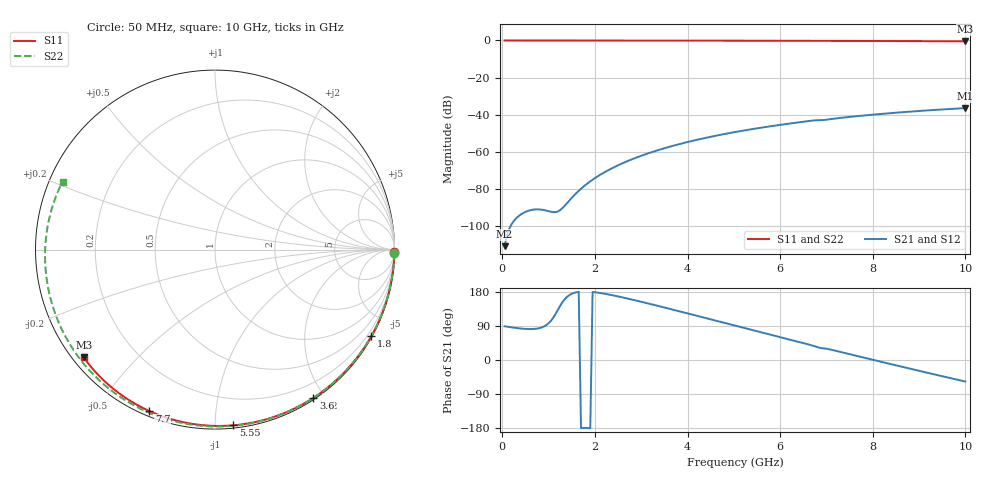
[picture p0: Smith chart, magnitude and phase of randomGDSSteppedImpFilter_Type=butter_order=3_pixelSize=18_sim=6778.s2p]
! freq	dB(S11)	phase(S11)	dB(S12)	phase(S12)
!  dB(S21)	phase(S21)	dB(S22)	phase(S22)
!S-par simulation data
#  GHz  S  DB  R 50
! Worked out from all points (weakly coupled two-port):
!   200 points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, 50 MHz to 10 GHz, reference 50 ohm
!   highest |S21| = -36.53 dB at 10 GHz (marker M1); lowest = -111.1 dB at 50 MHz (marker M2)
!   lowest |S11| = -0.5 dB at 10 GHz (marker M3), VSWR 36.57, Z = 1.54 - j17.9 ohm
!   |S11| at or under -10 dB: nowhere
!   |S22| runs from -0.6 to 0.0 dB; largest |S21 - S12| = 0
!   S11 on the Smith chart (normalised r, x): 50 MHz: open; 1.8 GHz: 0.03, -3.88; 3.6 GHz: 0.02, -1.86; 5.55 GHz: 0.02, -1.11; 7.7 GHz: 0.02, -0.67; 10 GHz: 0.03, -0.36
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0.05  -0.00 -0.8  -111.05 89.0  -111.05 89.0  -0.00 -1.2
0.45  -0.01 -7.3  -93.15 82.5  -93.15 82.5  -0.01 -10.3
0.85  -0.02 -13.8  -91.34 85.9  -91.34 85.9  -0.02 -19.4
1.7  -0.03 -27.3  -80.04 -179.5  -80.04 -179.5  -0.05 -38.5
1.75  -0.04 -28.1  -78.96 -179.3  -78.96 -179.3  -0.05 -39.6
1.8  -0.04 -28.9  -77.94 -179.3  -77.94 -179.3  -0.05 -40.7
2.1  -0.04 -33.6  -72.72 177.1  -72.72 177.1  -0.06 -47.2
2.45  -0.05 -39.0  -67.98 169.1  -67.98 169.1  -0.07 -54.8
2.9  -0.06 -45.9  -63.18 156.6  -63.18 156.6  -0.08 -64.3
3.4  -0.07 -53.5  -58.93 141.6  -58.93 141.6  -0.10 -74.6
3.6  -0.08 -56.4  -57.46 135.5  -57.46 135.5  -0.10 -78.7
4.3  -0.09 -66.6  -53.08 113.6  -53.08 113.6  -0.13 -92.6
5.05  -0.12 -77.2  -49.33 90.1  -49.33 90.1  -0.16 -107.2
5.55  -0.14 -84.1  -47.24 74.4  -47.24 74.4  -0.19 -116.6
6.1  -0.16 -91.5  -45.22 57.4  -45.22 57.4  -0.22 -126.9
6.7  -0.19 -99.4  -43.25 38.0  -43.25 38.0  -0.27 -138.1
6.95  -0.21 -102.6  -42.93 30.6  -42.93 30.6  -0.29 -142.8
7.7  -0.26 -112.2  -40.76 9.4  -40.76 9.4  -0.36 -156.9
8.35  -0.31 -120.3  -39.31 -9.7  -39.31 -9.7  -0.42 -169.5
9.2  -0.39 -130.8  -37.72 -34.3  -37.72 -34.3  -0.52 173.4
9.6  -0.43 -135.7  -37.09 -45.7  -37.09 -45.7  -0.57 164.8
10  -0.48 -140.6  -36.53 -56.9  -36.53 -56.9  -0.63 156.0
